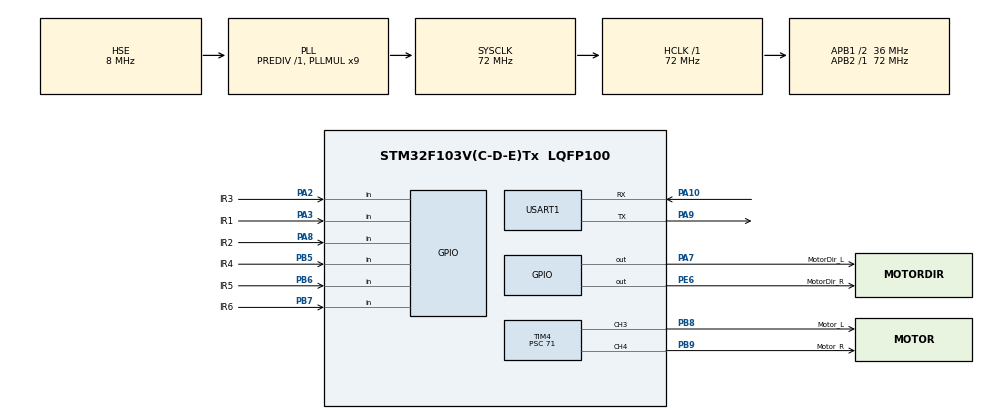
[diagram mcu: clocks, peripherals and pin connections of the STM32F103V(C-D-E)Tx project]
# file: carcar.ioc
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Mcu.Family=STM32F1
Mcu.Name=STM32F103V(C-D-E)Tx
Mcu.Package=LQFP100
NVIC.PriorityGroup=NVIC_PRIORITYGROUP_4
NVIC.TIM4_IRQn=true\:0\:0\:false\:false\:true\:true\:true\:true
NVIC.USART1_IRQn=true\:0\:0\:false\:false\:true\:true\:true\:true
OSC_IN.Mode=HSE-External-Oscillator
OSC_IN.Signal=RCC_OSC_IN
OSC_OUT.Mode=HSE-External-Oscillator
OSC_OUT.Signal=RCC_OSC_OUT
PA10.Mode=Asynchronous
PA10.Signal=USART1_RX
PA13.Mode=Serial_Wire
PA13.Signal=SYS_JTMS-SWDIO
PA14.Mode=Serial_Wire
PA14.Signal=SYS_JTCK-SWCLK
PA2.GPIO_Label=IR3
PA2.GPIO_Mode=GPIO_MODE_INPUT
PA2.GPIO_PuPd=GPIO_PULLUP
PA2.Signal=GPIO_Input
PA3.GPIO_Label=IR1
PA3.GPIO_Mode=GPIO_MODE_INPUT
PA3.GPIO_PuPd=GPIO_PULLUP
PA3.Signal=GPIO_Input
PA7.GPIO_Label=MotorDir_L
PA7.GPIO_ModeDefaultOutputPP=GPIO_MODE_OUTPUT_PP
PA7.GPIO_PuPd=GPIO_NOPULL
PA7.GPIO_Speed=GPIO_SPEED_FREQ_HIGH
PA7.PinState=GPIO_PIN_RESET
PA7.Signal=GPIO_Output
PA8.GPIO_Label=IR2
PA8.GPIO_Mode=GPIO_MODE_INPUT
PA8.GPIO_PuPd=GPIO_PULLUP
PA8.Signal=GPIO_Input
PA9.Mode=Asynchronous
PA9.Signal=USART1_TX
PB5.GPIO_Label=IR4
PB5.GPIO_Mode=GPIO_MODE_INPUT
PB5.GPIO_PuPd=GPIO_PULLUP
PB5.Signal=GPIO_Input
PB6.GPIO_Label=IR5
PB6.GPIO_Mode=GPIO_MODE_INPUT
PB6.GPIO_PuPd=GPIO_PULLUP
PB6.Signal=GPIO_Input
PB7.GPIO_Label=IR6
PB7.GPIO_Mode=GPIO_MODE_INPUT
PB7.GPIO_PuPd=GPIO_PULLUP
PB7.Signal=GPIO_Input
PB8.GPIO_Label=Motor_L
PB8.Signal=S_TIM4_CH3
PB9.GPIO_Label=Motor_R
PB9.Signal=S_TIM4_CH4
PC14-OSC32_IN.Mode=LSE-External-Oscillator
PC14-OSC32_IN.Signal=RCC_OSC32_IN
PC15-OSC32_OUT.Mode=LSE-External-Oscillator
PC15-OSC32_OUT.Signal=RCC_OSC32_OUT
PE6.GPIO_Label=MotorDir_R
PE6.GPIO_ModeDefaultOutputPP=GPIO_MODE_OUTPUT_PP
PE6.GPIO_PuPd=GPIO_NOPULL
PE6.GPIO_Speed=GPIO_SPEED_FREQ_HIGH
PE6.PinState=GPIO_PIN_RESET
PE6.Signal=GPIO_Output
ProjectManager.HeapSize=0x200
ProjectManager.StackSize=0x400
ProjectManager.TargetToolchain=CMake
RCC.AHBFreq_Value=72000000
RCC.APB1CLKDivider=RCC_HCLK_DIV2
RCC.APB1Freq_Value=36000000
RCC.APB1TimFreq_Value=72000000
RCC.APB2Freq_Value=72000000
RCC.APB2TimFreq_Value=72000000
RCC.HCLKFreq_Value=72000000
RCC.PLLMUL=RCC_PLL_MUL9
RCC.PLLSourceVirtual=RCC_PLLSOURCE_HSE
RCC.SYSCLKFreq_VALUE=72000000
RCC.SYSCLKSource=RCC_SYSCLKSOURCE_PLLCLK
RCC.USBFreq_Value=72000000
SH.S_TIM4_CH3.0=TIM4_CH3,PWM Generation3 CH3
SH.S_TIM4_CH4.0=TIM4_CH4,PWM Generation4 CH4
TIM4.AutoReloadPreload=TIM_AUTORELOAD_PRELOAD_ENABLE
TIM4.Channel-PWM\ Generation3\ CH3=TIM_CHANNEL_3
TIM4.Channel-PWM\ Generation4\ CH4=TIM_CHANNEL_4
TIM4.Period=999
TIM4.Prescaler=71
USART1.VirtualMode=VM_ASYNC
board=custom

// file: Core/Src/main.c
/* USER CODE BEGIN Header */
/**
  ******************************************************************************
  * @file           : main.c
  * @brief          : Main program body
  ******************************************************************************
  * @attention
  *
  * Copyright (c) 2025 STMicroelectronics.
  * All rights reserved.
  *
  * This software is licensed under terms that can be found in the LICENSE file
  * in the root directory of this software component.
  * If no LICENSE file comes with this software, it is provided AS-IS.
  *
  ******************************************************************************
  */
/* USER CODE END Header */
#include "main.h"
#include "tim.h"
#include "usart.h"
#include "gpio.h"

/* USER CODE BEGIN Includes */
#include <string.h>

#include "cc/neolux/auto/motor.h"
#include "cc/neolux/auto/infrared.h"
#include "cc/neolux/auto/parser.h"
#include "stdio.h"
/* USER CODE END Includes */

void SystemClock_Config(void);

/* USER CODE BEGIN 0 */
uint8_t rx1_data;
uint8_t rx1_rv_cnt=0;
#define RX_BUF_SIZE 64
uint8_t rx1_buf[RX_BUF_SIZE];
int l_velocity=0, r_velocity=0;

Motor_t motor_l ={}, motor_r ={};
#define IR_CNT 6
InfraredArray_t array;
Infrared_t irir[IR_CNT]; // 0-5: left-right

void HAL_UART_RxCpltCallback(UART_HandleTypeDef *huart) {
    if (huart == &huart1) {
        if (rx1_rv_cnt >= RX_BUF_SIZE - 1) {
            rx1_rv_cnt = 0;
            memset(rx1_buf, 0, RX_BUF_SIZE);
        }

        rx1_buf[rx1_rv_cnt++] = rx1_data;

        if (rx1_data == '\n' || rx1_data == '\r') {
            if (rx1_rv_cnt > 1) {
                rx1_buf[rx1_rv_cnt] = '\0';
                parse_cmd(rx1_buf, &l_velocity, &r_velocity);

            }

            rx1_rv_cnt = 0;
            memset(rx1_buf, 0, RX_BUF_SIZE);
        }

        HAL_UART_Receive_IT(huart, &rx1_data, 1);
    }
}

void app_motors_init(void) {
    motor_l.timer = &htim4;
    motor_l.channel = TIM_CHANNEL_3;
    motor_l.dir_port = MotorDir_L_GPIO_Port;
    motor_l.dir_pin = MotorDir_L_Pin;
    motor_r.timer = &htim4;
    motor_r.channel = TIM_CHANNEL_4;
    motor_r.dir_port = MotorDir_R_GPIO_Port;
    motor_r.dir_pin = MotorDir_R_Pin;

    motor_on(&motor_l);
    motor_on(&motor_r);
    motor_set_speed_dir(&motor_l, MOTOR_DIR_FORWARD, 0);
    motor_set_speed_dir(&motor_r, MOTOR_DIR_FORWARD, 0);
}

void app_irs_init(void) {
  infrared_init(&irir[0], IR1_GPIO_Port, IR1_Pin);
  infrared_init(&irir[1], IR2_GPIO_Port, IR2_Pin);
  infrared_init(&irir[2], IR3_GPIO_Port, IR3_Pin);
  infrared_init(&irir[3], IR4_GPIO_Port, IR4_Pin);
  infrared_init(&irir[4], IR5_GPIO_Port, IR5_Pin);
  infrared_init(&irir[5], IR6_GPIO_Port, IR6_Pin);
  infrared_array_init(&array, IR_CNT, irir);
}

void voiture_tourn_gauche() {
    motor_set_speed_dir(&motor_l, MOTOR_DIR_FORWARD, 0);
    motor_set_speed_dir(&motor_r, MOTOR_DIR_FORWARD, 50);
}

void voiture_tourn_droite() {
    motor_set_speed_dir(&motor_l, MOTOR_DIR_FORWARD, 50);
    motor_set_speed_dir(&motor_r, MOTOR_DIR_FORWARD, 0);
}

void voiture_avance() {
    motor_set_speed_dir(&motor_l, MOTOR_DIR_FORWARD, 30);
    motor_set_speed_dir(&motor_r, MOTOR_DIR_FORWARD, 30);
}

void voiture_attend() {
    motor_set_speed_dir(&motor_l, MOTOR_DIR_FORWARD, 0);
    motor_set_speed_dir(&motor_r, MOTOR_DIR_FORWARD, 0);
}

void printf_binary(uint8_t i) {
    for (int8_t j = 7; j >= 0; j--) {
        putchar( (i & (1 << j)) ? '1' : '0' );
    }
    putchar('\r');
    putchar('\n');
}
/* USER CODE END 0 */

int main(void)
{

  /* MCU Configuration--------------------------------------------------------*/

  /* Reset of all peripherals, Initializes the Flash interface and the Systick. */
  HAL_Init();

  /* Configure the system clock */
  SystemClock_Config();

  /* Initialize all configured peripherals */
  MX_GPIO_Init();
  MX_TIM4_Init();
  MX_USART1_UART_Init();

  /* Infinite loop */
  /* USER CODE BEGIN WHILE */

  app_irs_init();
  app_motors_init();
  HAL_UART_Receive_IT(&huart1, &rx1_data, 1); // Enable UART receive interrupt
  uint8_t ir_value=0;

  while (1)
  {
    motor_set_speed(&motor_l, l_velocity);
    motor_set_speed(&motor_r, r_velocity);
    HAL_Delay(3);
    /* USER CODE END WHILE */

  }
}

void SystemClock_Config(void)
{
  RCC_OscInitTypeDef RCC_OscInitStruct = {0};
  RCC_ClkInitTypeDef RCC_ClkInitStruct = {0};

  /** Initializes the RCC Oscillators according to the specified parameters
  * in the RCC_OscInitTypeDef structure.
  */
  RCC_OscInitStruct.OscillatorType = RCC_OSCILLATORTYPE_HSE;
  RCC_OscInitStruct.HSEState = RCC_HSE_ON;
  RCC_OscInitStruct.HSEPredivValue = RCC_HSE_PREDIV_DIV1;
  RCC_OscInitStruct.HSIState = RCC_HSI_ON;
  RCC_OscInitStruct.PLL.PLLState = RCC_PLL_ON;
  RCC_OscInitStruct.PLL.PLLSource = RCC_PLLSOURCE_HSE;
  RCC_OscInitStruct.PLL.PLLMUL = RCC_PLL_MUL9;
  if (HAL_RCC_OscConfig(&RCC_OscInitStruct) != HAL_OK)
  {
    Error_Handler();
  }

  /** Initializes the CPU, AHB and APB buses clocks
  */
  RCC_ClkInitStruct.ClockType = RCC_CLOCKTYPE_HCLK|RCC_CLOCKTYPE_SYSCLK
                              |RCC_CLOCKTYPE_PCLK1|RCC_CLOCKTYPE_PCLK2;
  RCC_ClkInitStruct.SYSCLKSource = RCC_SYSCLKSOURCE_PLLCLK;
  RCC_ClkInitStruct.AHBCLKDivider = RCC_SYSCLK_DIV1;
  RCC_ClkInitStruct.APB1CLKDivider = RCC_HCLK_DIV2;
  RCC_ClkInitStruct.APB2CLKDivider = RCC_HCLK_DIV1;

  if (HAL_RCC_ClockConfig(&RCC_ClkInitStruct, FLASH_LATENCY_2) != HAL_OK)
  {
    Error_Handler();
  }
}

void Error_Handler(void)
{
  __disable_irq();
  while (1)
  {
  }
}
